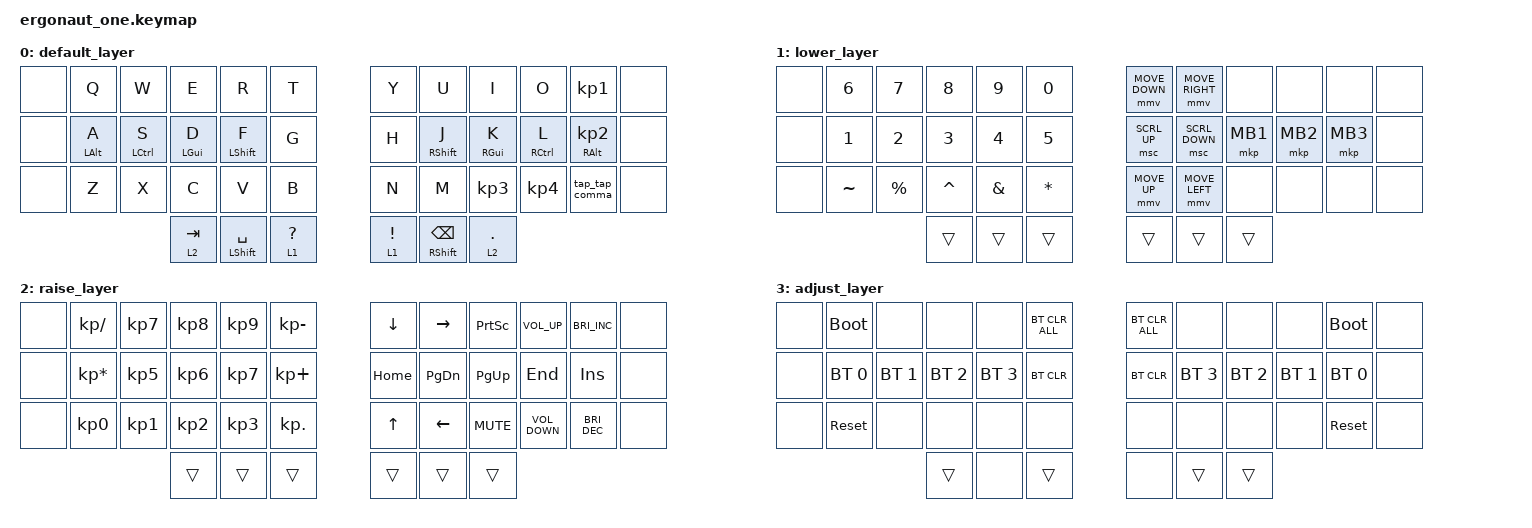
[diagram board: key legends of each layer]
#include <behaviors.dtsi>
#include <dt-bindings/zmk/bt.h>
#include <dt-bindings/zmk/keys.h>
#include <dt-bindings/zmk/pointing.h>
#include <dt-bindings/zmk/pointing.h>
#include <dt-bindings/zmk/pointing.h>

#define DEF 0
#define LWR 1
#define RSE 2
#define ADJ 3

&lt { quick-tap-ms = <200>; };

&mt {
    quick-tap-ms = <150>;
    tapping-term-ms = <250>;
    flavor = "tap-preferred";
};

/ {
    conditional_layers {
        compatible = "zmk,conditional-layers";

        tri-layer {
            if-layers = <1 2>;
            then-layer = <3>;
        };
    };

    combos {
        compatible = "zmk,combos";

        screenshot {
            bindings = <&lt 0 LG(LS(NUMBER_4))>;
            key-positions = <2 3>;
        };

        undo {
            bindings = <&kp LG(Z)>;
            key-positions = <25 28>;
        };

        copy {
            bindings = <&kp LG(C)>;
            key-positions = <27 26>;
        };

        cut {
            bindings = <&kp LG(X)>;
            key-positions = <25 26>;
        };

        paste {
            bindings = <&kp LG(B)>;
            key-positions = <27 28>;
        };

        select_all {
            bindings = <&kp LG(A)>;
            key-positions = <25 29>;
        };

        esc {
            bindings = <&kp ESC>;
            key-positions = <13 16>;
        };

        enter {
            bindings = <&kp ENTER>;
            key-positions = <14 15>;
        };

        backspace {
            bindings = <&kp BACKSPACE>;
            key-positions = <25 27>;
        };

        delete {
            bindings = <&kp DELETE>;
            key-positions = <28 26>;
        };

        colon {
            bindings = <&kp COLON>;
            key-positions = <3 4>;
        };

        semicolon {
            bindings = <&kp SEMICOLON>;
            key-positions = <4 5>;
        };

        pipe {
            bindings = <&kp PIPE>;
            key-positions = <21 22>;
        };

        e {
            bindings = <&kp KP_N7>;
            key-positions = <17 16>;
        };

        x {
            bindings = <&kp KP_N5>;
            key-positions = <16 15>;
        };

        t {
            bindings = <&kp KP_N6>;
            key-positions = <14 13>;
        };

        dollar {
            bindings = <&kp DOLLAR>;
            key-positions = <4 15>;
        };

        hash {
            bindings = <&kp HASH>;
            key-positions = <3 16>;
        };

        percent {
            bindings = <&kp PERCENT>;
            key-positions = <3 28>;
        };

        asterisk {
            bindings = <&kp ASTERISK>;
            key-positions = <27 16>;
        };

        ampersand {
            bindings = <&kp AMPERSAND>;
            key-positions = <15 28>;
        };

        atsign {
            bindings = <&kp AT_SIGN>;
            key-positions = <27 4>;
        };

        tilde {
            bindings = <&kp TILDE>;
            key-positions = <1 4>;
        };

        caret {
            bindings = <&kp CARET>;
            key-positions = <3 14>;
        };

        left-parenthesis {
            bindings = <&kp LEFT_PARENTHESIS>;
            key-positions = <8 7>;
        };

        right-parenthesis {
            bindings = <&kp RIGHT_PARENTHESIS>;
            key-positions = <9 8>;
        };

        left-bracket {
            bindings = <&kp LEFT_BRACKET>;
            key-positions = <19 20>;
        };

        right-bracket {
            bindings = <&kp RIGHT_BRACKET>;
            key-positions = <21 20>;
        };

        left-brace {
            bindings = <&kp LEFT_BRACE>;
            key-positions = <31 32>;
        };

        right-brace {
            bindings = <&kp RIGHT_BRACE>;
            key-positions = <33 32>;
        };

        double_quotes {
            bindings = <&kp DOUBLE_QUOTES>;
            key-positions = <7 20>;
        };

        single_qoute {
            bindings = <&kp SINGLE_QUOTE>;
            key-positions = <19 32>;
        };

        grave {
            bindings = <&kp GRAVE>;
            key-positions = <31 20>;
        };

        less {
            bindings = <&kp LESS_THAN>;
            key-positions = <31 33>;
        };

        greater {
            bindings = <&kp GREATER_THAN>;
            key-positions = <7 9>;
        };

        equal {
            bindings = <&kp EQUAL>;
            key-positions = <6 7>;
        };

        minus {
            bindings = <&kp MINUS>;
            key-positions = <18 19>;
        };

        underscore {
            bindings = <&kp UNDER>;
            key-positions = <30 31>;
        };

        plus {
            bindings = <&kp PLUS>;
            key-positions = <19 31>;
        };

        backslash {
            bindings = <&kp BACKSLASH>;
            key-positions = <10 9>;
        };

        slash {
            bindings = <&kp SLASH>;
            key-positions = <34 33>;
        };
    };

    behaviors {
        tap_tap_a: tap_tap_a {
            compatible = "zmk,behavior-tap-dance";
            label = "TAP_TAP_A";
            #binding-cells = <0>;
            bindings = <&kp A>, <&kp LS(A)>;
        };

        tap_dance_a: tap_dance_a {
            compatible = "zmk,behavior-hold-tap";
            label = "TAP_DANCE_A";
            bindings = <&kp>, <&tap_tap_a>;

            #binding-cells = <2>;
            flavor = "tap-preferred";
            tapping-term-ms = <250>;
            quick-tap-ms = <150>;
        };

        tap_tap_b: tap_tap_b {
            compatible = "zmk,behavior-tap-dance";
            label = "TAP_TAP_B";
            #binding-cells = <0>;
            bindings = <&kp B>, <&kp LS(B)>;
        };

        tap_tap_c: tap_tap_c {
            compatible = "zmk,behavior-tap-dance";
            label = "TAP_TAP_C";
            #binding-cells = <0>;
            bindings = <&kp C>, <&kp LS(C)>;
        };

        tap_tap_d: tap_tap_d {
            compatible = "zmk,behavior-tap-dance";
            label = "TAP_TAP_D";
            #binding-cells = <0>;
            bindings = <&kp D>, <&kp LS(D)>;
        };

        tap_tap_e: tap_tap_e {
            compatible = "zmk,behavior-tap-dance";
            label = "TAP_TAP_E";
            #binding-cells = <0>;
            bindings = <&kp E>, <&kp LS(E)>;
        };

        tap_tap_f: tap_tap_f {
            compatible = "zmk,behavior-tap-dance";
            label = "TAP_TAP_F";
            #binding-cells = <0>;
            bindings = <&kp F>, <&kp LS(F)>;
        };

        tap_tap_g: tap_tap_g {
            compatible = "zmk,behavior-tap-dance";
            label = "TAP_TAP_G";
            #binding-cells = <0>;
            bindings = <&kp G>, <&kp LS(G)>;
        };

        tap_tap_h: tap_tap_h {
            compatible = "zmk,behavior-tap-dance";
            label = "TAP_TAP_H";
            #binding-cells = <0>;
            bindings = <&kp H>, <&kp LS(H)>;
        };

        tap_tap_i: tap_tap_i {
            compatible = "zmk,behavior-tap-dance";
            label = "TAP_TAP_I";
            #binding-cells = <0>;
            bindings = <&kp I>, <&kp LS(I)>;
        };

        tap_tap_j: tap_tap_j {
            compatible = "zmk,behavior-tap-dance";
            label = "TAP_TAP_J";
            #binding-cells = <0>;
            bindings = <&kp J>, <&kp LS(J)>;
        };

        tap_tap_k: tap_tap_k {
            compatible = "zmk,behavior-tap-dance";
            label = "TAP_TAP_K";
            #binding-cells = <0>;
            bindings = <&kp K>, <&kp LS(K)>;
        };

        tap_tap_l: tap_tap_l {
            compatible = "zmk,behavior-tap-dance";
            label = "TAP_TAP_L";
            #binding-cells = <0>;
            bindings = <&kp L>, <&kp LS(L)>;
        };

        tap_tap_m: tap_tap_m {
            compatible = "zmk,behavior-tap-dance";
            label = "TAP_TAP_M";
            #binding-cells = <0>;
            bindings = <&kp M>, <&kp LS(M)>;
        };

        tap_tap_n: tap_tap_n {
            compatible = "zmk,behavior-tap-dance";
            label = "TAP_TAP_N";
            #binding-cells = <0>;
            bindings = <&kp N>, <&kp LS(N)>;
        };

        tap_tap_o: tap_tap_o {
            compatible = "zmk,behavior-tap-dance";
            label = "TAP_TAP_O";
            #binding-cells = <0>;
            bindings = <&kp O>, <&kp LS(O)>;
        };

        tap_tap_p: tap_tap_p {
            compatible = "zmk,behavior-tap-dance";
            label = "TAP_TAP_P";
            #binding-cells = <0>;
            bindings = <&kp P>, <&kp LS(P)>;
        };

        tap_tap_q: tap_tap_q {
            compatible = "zmk,behavior-tap-dance";
            label = "TAP_TAP_Q";
            #binding-cells = <0>;
            bindings = <&kp Q>, <&kp LS(Q)>;
        };

        tap_tap_r: tap_tap_r {
            compatible = "zmk,behavior-tap-dance";
            label = "TAP_TAP_R";
            #binding-cells = <0>;
            bindings = <&kp R>, <&kp LS(R)>;
        };

        tap_tap_s: tap_tap_s {
            compatible = "zmk,behavior-tap-dance";
            label = "TAP_TAP_S";
            #binding-cells = <0>;
            bindings = <&kp S>, <&kp LS(S)>;
        };

        tap_tap_t: tap_tap_t {
            compatible = "zmk,behavior-tap-dance";
            label = "TAP_TAP_T";
            #binding-cells = <0>;
            bindings = <&kp T>, <&kp LS(T)>;
        };

        tap_tap_u: tap_tap_u {
            compatible = "zmk,behavior-tap-dance";
            label = "TAP_TAP_U";
            #binding-cells = <0>;
            bindings = <&kp U>, <&kp LS(U)>;
        };

        tap_tap_v: tap_tap_v {
            compatible = "zmk,behavior-tap-dance";
            label = "TAP_TAP_V";
            #binding-cells = <0>;
            bindings = <&kp V>, <&kp LS(V)>;
        };

        tap_tap_w: tap_tap_w {
            compatible = "zmk,behavior-tap-dance";
            label = "TAP_TAP_W";
            #binding-cells = <0>;
            bindings = <&kp W>, <&kp LS(W)>;
        };

        tap_tap_x: tap_tap_x {
            compatible = "zmk,behavior-tap-dance";
            label = "TAP_TAP_X";
            #binding-cells = <0>;
            bindings = <&kp X>, <&kp LS(X)>;
        };

        tap_tap_y: tap_tap_y {
            compatible = "zmk,behavior-tap-dance";
            label = "TAP_TAP_Y";
            #binding-cells = <0>;
            bindings = <&kp Y>, <&kp LS(Y)>;
        };

        tap_tap_z: tap_tap_z {
            compatible = "zmk,behavior-tap-dance";
            label = "TAP_TAP_Z";
            #binding-cells = <0>;
            bindings = <&kp Z>, <&kp LS(Z)>;
        };

        tap_dance_s: tap_dance_s {
            compatible = "zmk,behavior-hold-tap";
            label = "TAP_DANCE_S";
            bindings = <&kp>, <&tap_tap_s>;

            #binding-cells = <2>;
            tapping-term-ms = <250>;
            quick-tap-ms = <150>;
            flavor = "tap-preferred";
        };

        tap_dance_d: tap_dance_d {
            compatible = "zmk,behavior-hold-tap";
            label = "TAP_DANCE_D";
            bindings = <&kp>, <&tap_tap_d>;

            #binding-cells = <2>;
            tapping-term-ms = <250>;
            quick-tap-ms = <150>;
            flavor = "tap-preferred";
        };

        tap_dance_f: tap_dance_f {
            compatible = "zmk,behavior-hold-tap";
            label = "TAP_DANCE_F";
            bindings = <&kp>, <&tap_tap_f>;

            #binding-cells = <2>;
            tapping-term-ms = <250>;
            quick-tap-ms = <150>;
            flavor = "tap-preferred";
        };

        tap_dance_j: tap_dance_j {
            compatible = "zmk,behavior-hold-tap";
            label = "TAP_DANCE_J";
            bindings = <&kp>, <&tap_tap_j>;

            #binding-cells = <2>;
            tapping-term-ms = <250>;
            quick-tap-ms = <150>;
            flavor = "tap-preferred";
        };

        tap_dance_k: tap_dance_k {
            compatible = "zmk,behavior-hold-tap";
            label = "TAP_DANCE_K";
            bindings = <&kp>, <&tap_tap_k>;

            #binding-cells = <2>;
            tapping-term-ms = <250>;
            quick-tap-ms = <150>;
            flavor = "tap-preferred";
        };

        tap_dance_l: tap_dance_l {
            compatible = "zmk,behavior-hold-tap";
            label = "TAP_DANCE_L";
            bindings = <&kp>, <&tap_tap_l>;

            #binding-cells = <2>;
            tapping-term-ms = <250>;
            quick-tap-ms = <150>;
            flavor = "tap-preferred";
        };

        tap_tap_k2: tap_tap_k2 {
            compatible = "zmk,behavior-tap-dance";
            label = "TAP_TAP_K2";
            #binding-cells = <0>;
            bindings = <&kp KP_N2>, <&kp LS(KP_N2)>;
        };

        tap_dance_k2: tap_dance_k2 {
            compatible = "zmk,behavior-hold-tap";
            label = "TAP_DANCE_K2";
            bindings = <&kp>, <&tap_tap_k2>;

            #binding-cells = <2>;
            tapping-term-ms = <250>;
            quick-tap-ms = <150>;
            flavor = "tap-preferred";
        };

        tap_tap_k1: tap_tap_k1 {
            compatible = "zmk,behavior-tap-dance";
            label = "TAP_TAP_K1";
            #binding-cells = <0>;
            bindings = <&kp KP_N1>, <&kp LS(KP_N1)>;
        };

        tap_tap_k3: tap_tap_k3 {
            compatible = "zmk,behavior-tap-dance";
            label = "TAP_TAP_K3";
            #binding-cells = <0>;
            bindings = <&kp KP_N3>, <&kp LS(KP_N3)>;
        };

        tap_tap_k4: tap_tap_k4 {
            compatible = "zmk,behavior-tap-dance";
            label = "TAP_TAP_K4";
            #binding-cells = <0>;
            bindings = <&kp KP_N4>, <&kp LS(KP_N4)>;
        };

        tap_tap_comma: tap_tap_comma {
            compatible = "zmk,behavior-tap-dance";
            label = "TAP_TAP_COMMA";
            #binding-cells = <0>;
            bindings = <&kp COMMA>, <&kp DOT>;
        };
    };

    keymap {
        compatible = "zmk,keymap";

        default_layer {
            bindings = <
&none  &kp Q       &kp W        &kp E       &kp R            &kp T           &kp Y              &kp U                &kp I       &kp O        &kp KP_N1       &none
&none  &mt LALT A  &mt LCTRL S  &mt LGUI D  &mt LSHFT F      &kp G           &kp H              &mt RSHFT J          &mt RGUI K  &mt RCTRL L  &mt RALT KP_N2  &none
&none  &kp Z       &kp X        &kp C       &kp V            &kp B           &kp N              &kp M                &kp KP_N3   &kp KP_N4    &tap_tap_comma  &none
                                &lt 2 TAB   &mt LSHFT SPACE  &lt 1 QUESTION  &lt 1 EXCLAMATION  &mt RSHFT BACKSPACE  &lt 2 DOT
            >;
        };

        lower_layer {
            bindings = <
&none  &kp NUMBER_6  &kp NUMBER_7  &kp NUMBER_8  &kp NUMBER_9   &kp NUMBER_0  &mmv MOVE_DOWN  &mmv MOVE_RIGHT  &none     &none     &none     &none
&none  &kp NUMBER_1  &kp NUMBER_2  &kp NUMBER_3  &kp NUMBER_4   &kp NUMBER_5  &msc SCRL_UP    &msc SCRL_DOWN   &mkp MB1  &mkp MB2  &mkp MB3  &none
&none  &kp TILDE     &kp PERCENT   &kp CARET     &kp AMPERSAND  &kp ASTERISK  &mmv MOVE_UP    &mmv MOVE_LEFT   &none     &none     &none     &none
                                   &trans        &trans         &trans        &trans          &trans           &trans
            >;
        };

        raise_layer {
            bindings = <
&none  &kp KP_SLASH     &kp KP_N7  &kp KP_N8  &kp KP_N9  &kp KP_MINUS  &kp DOWN  &kp RIGHT  &kp PSCRN   &kp C_VOLUME_UP    &kp C_BRIGHTNESS_INC  &none
&none  &kp KP_MULTIPLY  &kp KP_N5  &kp KP_N6  &kp KP_N7  &kp KP_PLUS   &kp HOME  &kp PG_DN  &kp PG_UP   &kp END            &kp INS               &none
&none  &kp KP_N0        &kp KP_N1  &kp KP_N2  &kp KP_N3  &kp KP_DOT    &kp UP    &kp LEFT   &kp C_MUTE  &kp C_VOLUME_DOWN  &kp C_BRIGHTNESS_DEC  &none
                                   &trans     &trans     &trans        &trans    &trans     &trans
            >;
        };

        adjust_layer {
            bindings = <
&none  &bootloader   &none         &none         &none         &bt BT_CLR_ALL  &bt BT_CLR_ALL  &none         &none         &none         &bootloader   &none
&none  &bt BT_SEL 0  &bt BT_SEL 1  &bt BT_SEL 2  &bt BT_SEL 3  &bt BT_CLR      &bt BT_CLR      &bt BT_SEL 3  &bt BT_SEL 2  &bt BT_SEL 1  &bt BT_SEL 0  &none
&none  &sys_reset    &none         &none         &none         &none           &none           &none         &none         &none         &sys_reset    &none
                                   &trans        &none         &trans          &none           &trans        &trans
            >;
        };
    };
};
